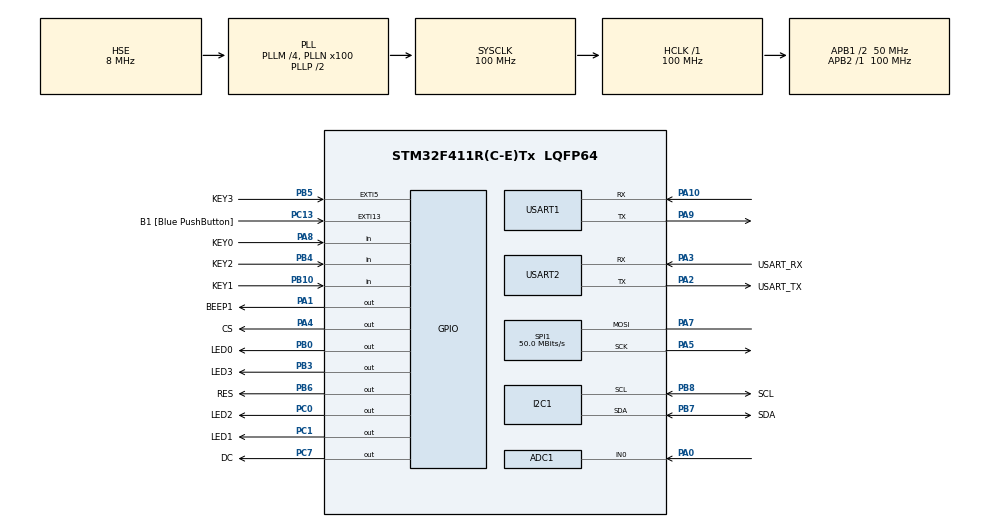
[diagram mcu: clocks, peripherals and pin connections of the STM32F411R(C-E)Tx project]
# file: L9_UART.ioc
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ADC1.Channel-0\#ChannelRegularConversion=ADC_CHANNEL_0
ADC1.ContinuousConvMode=ENABLE
ADC1.DMAContinuousRequests=ENABLE
ADC1.NbrOfConversion=1
ADC1.NbrOfConversionFlag=1
ADC1.Rank-0\#ChannelRegularConversion=1
ADC1.SamplingTime-0\#ChannelRegularConversion=ADC_SAMPLETIME_3CYCLES
ADC1.ScanConvMode=ENABLE
ADC1.master=1
Dma.ADC1.0.Direction=DMA_PERIPH_TO_MEMORY
Dma.ADC1.0.FIFOMode=DMA_FIFOMODE_DISABLE
Dma.ADC1.0.Instance=DMA2_Stream0
Dma.ADC1.0.MemDataAlignment=DMA_MDATAALIGN_WORD
Dma.ADC1.0.MemInc=DMA_MINC_ENABLE
Dma.ADC1.0.Mode=DMA_CIRCULAR
Dma.ADC1.0.PeriphDataAlignment=DMA_PDATAALIGN_WORD
Dma.ADC1.0.PeriphInc=DMA_PINC_DISABLE
Dma.ADC1.0.Priority=DMA_PRIORITY_LOW
Dma.Request0=ADC1
Dma.Request1=SPI1_TX
Dma.Request2=USART2_TX
Dma.Request3=USART2_RX
Dma.SPI1_TX.1.Direction=DMA_MEMORY_TO_PERIPH
Dma.SPI1_TX.1.FIFOMode=DMA_FIFOMODE_DISABLE
Dma.SPI1_TX.1.Instance=DMA2_Stream2
Dma.SPI1_TX.1.MemDataAlignment=DMA_MDATAALIGN_BYTE
Dma.SPI1_TX.1.MemInc=DMA_MINC_ENABLE
Dma.SPI1_TX.1.Mode=DMA_NORMAL
Dma.SPI1_TX.1.PeriphDataAlignment=DMA_PDATAALIGN_BYTE
Dma.SPI1_TX.1.PeriphInc=DMA_PINC_DISABLE
Dma.SPI1_TX.1.Priority=DMA_PRIORITY_VERY_HIGH
Dma.USART2_RX.3.Direction=DMA_PERIPH_TO_MEMORY
Dma.USART2_RX.3.FIFOMode=DMA_FIFOMODE_DISABLE
Dma.USART2_RX.3.Instance=DMA1_Stream5
Dma.USART2_RX.3.MemDataAlignment=DMA_MDATAALIGN_BYTE
Dma.USART2_RX.3.MemInc=DMA_MINC_ENABLE
Dma.USART2_RX.3.Mode=DMA_NORMAL
Dma.USART2_RX.3.PeriphDataAlignment=DMA_PDATAALIGN_BYTE
Dma.USART2_RX.3.PeriphInc=DMA_PINC_DISABLE
Dma.USART2_RX.3.Priority=DMA_PRIORITY_VERY_HIGH
Dma.USART2_TX.2.Direction=DMA_MEMORY_TO_PERIPH
Dma.USART2_TX.2.FIFOMode=DMA_FIFOMODE_DISABLE
Dma.USART2_TX.2.Instance=DMA1_Stream6
Dma.USART2_TX.2.MemDataAlignment=DMA_MDATAALIGN_BYTE
Dma.USART2_TX.2.MemInc=DMA_MINC_ENABLE
Dma.USART2_TX.2.Mode=DMA_NORMAL
Dma.USART2_TX.2.PeriphDataAlignment=DMA_PDATAALIGN_BYTE
Dma.USART2_TX.2.PeriphInc=DMA_PINC_DISABLE
Dma.USART2_TX.2.Priority=DMA_PRIORITY_VERY_HIGH
Mcu.Family=STM32F4
Mcu.Name=STM32F411R(C-E)Tx
Mcu.Package=LQFP64
NVIC.DMA1_Stream5_IRQn=true\:0\:0\:false\:false\:true\:false\:true\:true
NVIC.DMA1_Stream6_IRQn=true\:0\:0\:false\:false\:true\:false\:true\:true
NVIC.DMA2_Stream0_IRQn=true\:0\:0\:false\:false\:true\:false\:true\:true
NVIC.DMA2_Stream2_IRQn=true\:0\:0\:false\:false\:true\:false\:true\:true
NVIC.PriorityGroup=NVIC_PRIORITYGROUP_0
NVIC.SPI1_IRQn=true\:0\:0\:false\:false\:true\:true\:true\:true
NVIC.TIM2_IRQn=true\:0\:0\:false\:false\:true\:true\:true\:true
NVIC.USART2_IRQn=true\:0\:0\:false\:false\:true\:true\:true\:true
PA0-WKUP.Signal=ADCx_IN0
PA1.GPIO_Label=BEEP1
PA1.GPIO_PuPd=GPIO_PULLUP
PA1.Signal=GPIO_Output
PA10.Mode=Asynchronous
PA10.Signal=USART1_RX
PA13.GPIO_Label=TMS
PA13.Mode=Serial_Wire
PA13.Signal=SYS_JTMS-SWDIO
PA14.GPIO_Label=TCK
PA14.Mode=Serial_Wire
PA14.Signal=SYS_JTCK-SWCLK
PA2.GPIO_Label=USART_TX
PA2.Mode=Asynchronous
PA2.Signal=USART2_TX
PA3.GPIO_Label=USART_RX
PA3.Mode=Asynchronous
PA3.Signal=USART2_RX
PA4.GPIO_Label=CS
PA4.GPIO_Speed=GPIO_SPEED_FREQ_VERY_HIGH
PA4.Signal=GPIO_Output
PA5.Mode=Simplex_Bidirectional_Master
PA5.Signal=SPI1_SCK
PA7.Mode=Simplex_Bidirectional_Master
PA7.Signal=SPI1_MOSI
PA8.GPIO_Label=KEY0
PA8.GPIO_PuPd=GPIO_PULLUP
PA8.Signal=GPIO_Input
PA9.Mode=Asynchronous
PA9.Signal=USART1_TX
PB0.GPIO_Label=LED0
PB0.GPIO_PuPd=GPIO_PULLUP
PB0.Signal=GPIO_Output
PB10.GPIO_Label=KEY1
PB10.GPIO_PuPd=GPIO_PULLUP
PB10.Signal=GPIO_Input
PB3.GPIO_Label=LED3
PB3.GPIO_PuPd=GPIO_PULLUP
PB3.Signal=GPIO_Output
PB4.GPIO_Label=KEY2
PB4.GPIO_PuPd=GPIO_PULLUP
PB4.Signal=GPIO_Input
PB5.GPIO_Label=KEY3
PB5.GPIO_PuPd=GPIO_PULLUP
PB5.Signal=GPXTI5
PB6.GPIO_Label=RES
PB6.GPIO_Speed=GPIO_SPEED_FREQ_VERY_HIGH
PB6.Signal=GPIO_Output
PB7.GPIO_Label=SDA
PB7.Mode=I2C
PB7.Signal=I2C1_SDA
PB8.GPIO_Label=SCL
PB8.Mode=I2C
PB8.Signal=I2C1_SCL
PC0.GPIO_Label=LED2
PC0.GPIO_PuPd=GPIO_PULLUP
PC0.Signal=GPIO_Output
PC1.GPIO_Label=LED1
PC1.GPIO_PuPd=GPIO_PULLUP
PC1.Signal=GPIO_Output
PC13-ANTI_TAMP.GPIO_Label=B1 [Blue PushButton]
PC13-ANTI_TAMP.GPIO_ModeDefaultEXTI=GPIO_MODE_IT_FALLING
PC13-ANTI_TAMP.Signal=GPXTI13
PC14-OSC32_IN.Mode=LSE-External-Oscillator
PC14-OSC32_IN.Signal=RCC_OSC32_IN
PC15-OSC32_OUT.Mode=LSE-External-Oscillator
PC15-OSC32_OUT.Signal=RCC_OSC32_OUT
PC7.GPIO_Label=DC
PC7.GPIO_Speed=GPIO_SPEED_FREQ_VERY_HIGH
PC7.Signal=GPIO_Output
PH0\ -\ OSC_IN.Mode=HSE-External-Clock-Source
PH0\ -\ OSC_IN.Signal=RCC_OSC_IN
PH1\ -\ OSC_OUT.Mode=HSE-External-Clock-Source
PH1\ -\ OSC_OUT.Signal=RCC_OSC_OUT
ProjectManager.HeapSize=0x200
ProjectManager.StackSize=0x400
ProjectManager.TargetToolchain=MDK-ARM V5.32
RCC.48MHZClocksFreq_Value=50000000
RCC.AHBFreq_Value=100000000
RCC.APB1CLKDivider=RCC_HCLK_DIV2
RCC.APB1Freq_Value=50000000
RCC.APB1TimFreq_Value=100000000
RCC.APB2Freq_Value=100000000
RCC.APB2TimFreq_Value=100000000
RCC.CortexFreq_Value=100000000
RCC.FLatency-AdvancedSettings=FLASH_LATENCY_3
RCC.HCLKFreq_Value=100000000
RCC.HSE_VALUE=8000000
RCC.HSI_VALUE=16000000
RCC.PLLM=4
RCC.PLLN=100
RCC.PLLSourceVirtual=RCC_PLLSOURCE_HSE
RCC.SYSCLKFreq_VALUE=100000000
RCC.SYSCLKSource=RCC_SYSCLKSOURCE_PLLCLK
RCC.VCOOutputFreq_Value=200000000
SH.ADCx_IN0.0=ADC1_IN0,IN0
SPI1.CalculateBaudRate=50.0 MBits/s
SPI1.DataSize=SPI_DATASIZE_8BIT
SPI1.Direction=SPI_DIRECTION_1LINE
SPI1.Mode=SPI_MODE_MASTER
SPI1.VirtualType=VM_MASTER
TIM2.AutoReloadPreload=TIM_AUTORELOAD_PRELOAD_ENABLE
TIM2.Period=1000-1
TIM2.Prescaler=99-1
USART1.VirtualMode=VM_ASYNC
USART2.VirtualMode=VM_ASYNC
VP_TIM2_VS_ClockSourceINT.Mode=Internal
board=NUCLEO-F411RE

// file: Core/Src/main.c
/* USER CODE BEGIN Header */
/**
  ******************************************************************************
  * @file           : main.c
  * @brief          : Main program body
  ******************************************************************************
  * @attention
  *
  * Copyright (c) 2023 STMicroelectronics.
  * All rights reserved.
  *
  * This software is licensed under terms that can be found in the LICENSE file
  * in the root directory of this software component.
  * If no LICENSE file comes with this software, it is provided AS-IS.
  *
  ******************************************************************************
  */
/* USER CODE END Header */
#include "main.h"
#include "adc.h"
#include "dma.h"
#include "i2c.h"
#include "spi.h"
#include "tim.h"
#include "usart.h"
#include "gpio.h"

/* USER CODE BEGIN Includes */
#include "ST7789_Driver.h"
#include "stdio.h"
#include "lcd_basic.h"
#include <string.h>
/* USER CODE END Includes */

/* USER CODE BEGIN PD */
#define EXPERIMENT_2
/* USER CODE END PD */

/* USER CODE BEGIN PV */

#ifdef EXPERIMENT_1
uint8_t RXbuff[200],str[10];
uint8_t LENGTH=200;
uint8_t aTxStartMessage[] = "==============================串口DMA示例==============================\r\n";
#endif

/* USER CODE END PV */

void SystemClock_Config(void);

/* USER CODE BEGIN 0 */

int fputc(int ch, FILE *f)
{
	uint8_t temp[1] = {ch};
	HAL_UART_Transmit(&huart2, temp, 1, 2);//hlpuart1需要根据你的配置修改
	return ch;
}
#ifdef EXPERIMENT_2
int fgetc(FILE *f)
{
    uint8_t temp[1];
    HAL_UART_Receive(&huart2, temp, 1, HAL_MAX_DELAY);
    return (int)temp[0];
}
#endif

/* USER CODE END 0 */

int main(void)
{

  /* MCU Configuration--------------------------------------------------------*/

  /* Reset of all peripherals, Initializes the Flash interface and the Systick. */
  HAL_Init();

  /* Configure the system clock */
  SystemClock_Config();

  /* Initialize all configured peripherals */
  MX_GPIO_Init();
  MX_DMA_Init();
  MX_USART2_UART_Init();
  MX_SPI1_Init();
  MX_USART1_UART_Init();
  MX_ADC1_Init();
  MX_I2C1_Init();
  MX_TIM2_Init();
  /* USER CODE BEGIN 2 */

#ifdef EXPERIMENT_1
HAL_UART_Transmit_DMA(&huart2,(uint8_t*)aTxStartMessage,sizeof(aTxStartMessage));
HAL_UARTEx_ReceiveToIdle_DMA(&huart2,(uint8_t *)RXbuff,LENGTH);
#endif

#ifdef EXPERIMENT_2
char rx_buffer1[100];
char rx_buffer2[100];
memset(rx_buffer1, 0, sizeof(rx_buffer1));
memset(rx_buffer2, 0, sizeof(rx_buffer2));
#endif

  /* USER CODE END 2 */

  /* Infinite loop */
  /* USER CODE BEGIN WHILE */
  while (1)
  {
#ifdef EXPERIMENT_2
	  if(HAL_GPIO_ReadPin(KEY0_GPIO_Port,KEY0_Pin) == 0)
	  {
		  HAL_Delay(20);
		  if(HAL_GPIO_ReadPin(KEY0_GPIO_Port,KEY0_Pin) == 0)
		  {
			  while(HAL_GPIO_ReadPin(KEY0_GPIO_Port,KEY0_Pin) == 0);
			  printf("请输入姓名： \n\r");
			  scanf("%99s", rx_buffer1);
			  printf("\r\n你输入的姓名为： %s\n\r",rx_buffer1);
		  }
	  }

	  if(HAL_GPIO_ReadPin(KEY1_GPIO_Port,KEY1_Pin) == 0)
	  {
		  HAL_Delay(20);
		  if(HAL_GPIO_ReadPin(KEY1_GPIO_Port,KEY1_Pin) == 0)
		  {
			  while(HAL_GPIO_ReadPin(KEY1_GPIO_Port,KEY1_Pin) == 0);
			  printf("\r\n请输入年龄： \n\r");
			  scanf("%99s", rx_buffer2);
			  printf("\r\n你输入的年龄为： %s\n\r",rx_buffer2);
		  }
	  }

	  if(HAL_GPIO_ReadPin(KEY2_GPIO_Port,KEY2_Pin) == 0)
	  {
		  HAL_Delay(20);
		  if(HAL_GPIO_ReadPin(KEY2_GPIO_Port,KEY2_Pin) == 0)
		  {
			  while(HAL_GPIO_ReadPin(KEY2_GPIO_Port,KEY2_Pin) == 0);
			  printf("\r\n%s的年龄为 %s\r\n",rx_buffer1,rx_buffer2);
		  }
	  }
#endif
    /* USER CODE END WHILE */

  }
}

void SystemClock_Config(void)
{
  RCC_OscInitTypeDef RCC_OscInitStruct = {0};
  RCC_ClkInitTypeDef RCC_ClkInitStruct = {0};

  /** Configure the main internal regulator output voltage
  */
  __HAL_RCC_PWR_CLK_ENABLE();
  __HAL_PWR_VOLTAGESCALING_CONFIG(PWR_REGULATOR_VOLTAGE_SCALE1);

  /** Initializes the RCC Oscillators according to the specified parameters
  * in the RCC_OscInitTypeDef structure.
  */
  RCC_OscInitStruct.OscillatorType = RCC_OSCILLATORTYPE_HSE;
  RCC_OscInitStruct.HSEState = RCC_HSE_BYPASS;
  RCC_OscInitStruct.PLL.PLLState = RCC_PLL_ON;
  RCC_OscInitStruct.PLL.PLLSource = RCC_PLLSOURCE_HSE;
  RCC_OscInitStruct.PLL.PLLM = 4;
  RCC_OscInitStruct.PLL.PLLN = 100;
  RCC_OscInitStruct.PLL.PLLP = RCC_PLLP_DIV2;
  RCC_OscInitStruct.PLL.PLLQ = 4;
  if (HAL_RCC_OscConfig(&RCC_OscInitStruct) != HAL_OK)
  {
    Error_Handler();
  }

  /** Initializes the CPU, AHB and APB buses clocks
  */
  RCC_ClkInitStruct.ClockType = RCC_CLOCKTYPE_HCLK|RCC_CLOCKTYPE_SYSCLK
                              |RCC_CLOCKTYPE_PCLK1|RCC_CLOCKTYPE_PCLK2;
  RCC_ClkInitStruct.SYSCLKSource = RCC_SYSCLKSOURCE_PLLCLK;
  RCC_ClkInitStruct.AHBCLKDivider = RCC_SYSCLK_DIV1;
  RCC_ClkInitStruct.APB1CLKDivider = RCC_HCLK_DIV2;
  RCC_ClkInitStruct.APB2CLKDivider = RCC_HCLK_DIV1;

  if (HAL_RCC_ClockConfig(&RCC_ClkInitStruct, FLASH_LATENCY_3) != HAL_OK)
  {
    Error_Handler();
  }
}

/* USER CODE BEGIN 4 */
#ifdef EXPERIMENT_1
static uint8_t ITNUM=0;
void HAL_UARTEx_RxEventCallback(UART_HandleTypeDef *huart, uint16_t Size)
{

	if(huart->Instance==USART2)
	{
			if (strstr((char *)RXbuff,"#LED"))
			{
				if(strstr((char *)RXbuff,"onLED1"))HAL_GPIO_WritePin(LED0_GPIO_Port, LED0_Pin, GPIO_PIN_SET);
				if(strstr((char *)RXbuff,"onLED2"))HAL_GPIO_WritePin(LED1_GPIO_Port, LED1_Pin, GPIO_PIN_SET);
				if(strstr((char *)RXbuff,"onLED3"))HAL_GPIO_WritePin(LED2_GPIO_Port, LED2_Pin, GPIO_PIN_SET);
				if(strstr((char *)RXbuff,"onLED4"))HAL_GPIO_WritePin(LED3_GPIO_Port, LED3_Pin, GPIO_PIN_SET);

				if(strstr((char *)RXbuff,"offLED1"))HAL_GPIO_WritePin(LED0_GPIO_Port, LED0_Pin, GPIO_PIN_RESET);
				if(strstr((char *)RXbuff,"offLED2"))HAL_GPIO_WritePin(LED1_GPIO_Port, LED1_Pin, GPIO_PIN_RESET);
				if(strstr((char *)RXbuff,"offLED3"))HAL_GPIO_WritePin(LED2_GPIO_Port, LED2_Pin, GPIO_PIN_RESET);
				if(strstr((char *)RXbuff,"offLED4"))HAL_GPIO_WritePin(LED3_GPIO_Port, LED3_Pin, GPIO_PIN_RESET);

				printf("串口DMA接收到命令: %s\n", RXbuff);
				memset(RXbuff, 0, LENGTH);
			}
			else
			{
				printf("接收到错误指令: %s\n", RXbuff);
				printf("请输入正确的指令格式，例如：#LEDonLED1 或者 #LEDoffLED1\n");
			}
	 }

		    printf("++++++++ 串口中断进入次数统计:%d ++++++++\r\n\r\n",ITNUM);
			ITNUM++;

			// 重新开启串口DMA接收
			HAL_UARTEx_ReceiveToIdle_DMA(&huart2, (uint8_t *)RXbuff, LENGTH);
}
#endif
/* USER CODE END 4 */

void Error_Handler(void)
{
  __disable_irq();
  while (1)
  {
  }
}
